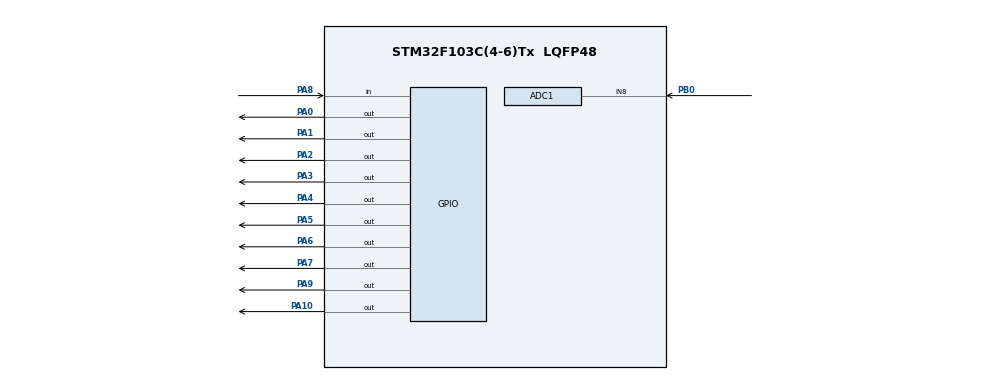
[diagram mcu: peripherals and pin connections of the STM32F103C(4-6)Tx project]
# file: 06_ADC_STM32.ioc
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ADC1.Channel-0\#ChannelRegularConversion=ADC_CHANNEL_8
ADC1.NbrOfConversionFlag=1
ADC1.Rank-0\#ChannelRegularConversion=1
ADC1.SamplingTime-0\#ChannelRegularConversion=ADC_SAMPLETIME_1CYCLE_5
ADC1.master=1
Mcu.Family=STM32F1
Mcu.Name=STM32F103C(4-6)Tx
Mcu.Package=LQFP48
NVIC.PriorityGroup=NVIC_PRIORITYGROUP_4
PA0-WKUP.Signal=GPIO_Output
PA1.Signal=GPIO_Output
PA10.Signal=GPIO_Output
PA2.Signal=GPIO_Output
PA3.Signal=GPIO_Output
PA4.Signal=GPIO_Output
PA5.Signal=GPIO_Output
PA6.Signal=GPIO_Output
PA7.Signal=GPIO_Output
PA8.Signal=GPIO_Input
PA9.Signal=GPIO_Output
PB0.Signal=ADCx_IN8
ProjectManager.HeapSize=0x200
ProjectManager.StackSize=0x400
ProjectManager.TargetToolchain=STM32CubeIDE
RCC.APB1Freq_Value=8000000
RCC.APB2Freq_Value=8000000
SH.ADCx_IN8.0=ADC1_IN8,IN8
VP_SYS_VS_ND.Mode=No_Debug
board=custom

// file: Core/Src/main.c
/* USER CODE BEGIN Header */
/**
  ******************************************************************************
  * @file           : main.c
  * @brief          : Main program body
  ******************************************************************************
  * @attention
  *
  * Copyright (c) 2026 STMicroelectronics.
  * All rights reserved.
  *
  * This software is licensed under terms that can be found in the LICENSE file
  * in the root directory of this software component.
  * If no LICENSE file comes with this software, it is provided AS-IS.
  *
  ******************************************************************************
  */
/* USER CODE END Header */
#include "main.h"

ADC_HandleTypeDef hadc1;

void SystemClock_Config(void);
static void MX_GPIO_Init(void);
static void MX_ADC1_Init(void);

int main(void)
{

  /* USER CODE BEGIN 1 */
	int Adc_value;
	char c1,c2,c3,c4;

  /* USER CODE END 1 */

  /* MCU Configuration--------------------------------------------------------*/

  /* Reset of all peripherals, Initializes the Flash interface and the Systick. */
  HAL_Init();

  /* Configure the system clock */
  SystemClock_Config();

  /* Initialize all configured peripherals */
  MX_GPIO_Init();
  MX_ADC1_Init();
  /* USER CODE BEGIN 2 */
  LCD_Init();
  Curr_Loc(1, 1);
  String("ADC VALUE ");

  /* USER CODE END 2 */

  /* Infinite loop */
  /* USER CODE BEGIN WHILE */
  while (1)
  {

	  // START ADC

	  HAL_ADCEx_Calibration_Start(&hadc1);
	  HAL_ADC_PollForConversion(&hadc1, 1000);
	  Adc_value = HAL_ADC_GetValue(&hadc1) ; // ACCEPT DATA FROM SFR TO VARIABLE..

	  // COVERT TO CHAR...
	  	  c1 = (Adc_value) / 1000;
	  	  c2 = ((Adc_value / 100) % 10);
	  	  c3 = ((Adc_value / 10) % 10);
	  	  c4 = Adc_value % 10;

	      Curr_Loc(2, 1);
	      LCD_Data(c1 + 48);
	      LCD_Data(c2 + 48);
	      LCD_Data(c3 + 48);
	      LCD_Data(c4 + 48);
	  	  Clear_Screen();
	  	  HAL_Delay(300);

    /* USER CODE END WHILE */

  }
}

void SystemClock_Config(void)
{
  RCC_OscInitTypeDef RCC_OscInitStruct = {0};
  RCC_ClkInitTypeDef RCC_ClkInitStruct = {0};
  RCC_PeriphCLKInitTypeDef PeriphClkInit = {0};

  /** Initializes the RCC Oscillators according to the specified parameters
  * in the RCC_OscInitTypeDef structure.
  */
  RCC_OscInitStruct.OscillatorType = RCC_OSCILLATORTYPE_HSI;
  RCC_OscInitStruct.HSIState = RCC_HSI_ON;
  RCC_OscInitStruct.HSICalibrationValue = RCC_HSICALIBRATION_DEFAULT;
  RCC_OscInitStruct.PLL.PLLState = RCC_PLL_NONE;
  if (HAL_RCC_OscConfig(&RCC_OscInitStruct) != HAL_OK)
  {
    Error_Handler();
  }

  /** Initializes the CPU, AHB and APB buses clocks
  */
  RCC_ClkInitStruct.ClockType = RCC_CLOCKTYPE_HCLK|RCC_CLOCKTYPE_SYSCLK
                              |RCC_CLOCKTYPE_PCLK1|RCC_CLOCKTYPE_PCLK2;
  RCC_ClkInitStruct.SYSCLKSource = RCC_SYSCLKSOURCE_HSI;
  RCC_ClkInitStruct.AHBCLKDivider = RCC_SYSCLK_DIV1;
  RCC_ClkInitStruct.APB1CLKDivider = RCC_HCLK_DIV1;
  RCC_ClkInitStruct.APB2CLKDivider = RCC_HCLK_DIV1;

  if (HAL_RCC_ClockConfig(&RCC_ClkInitStruct, FLASH_LATENCY_0) != HAL_OK)
  {
    Error_Handler();
  }
  PeriphClkInit.PeriphClockSelection = RCC_PERIPHCLK_ADC;
  PeriphClkInit.AdcClockSelection = RCC_ADCPCLK2_DIV2;
  if (HAL_RCCEx_PeriphCLKConfig(&PeriphClkInit) != HAL_OK)
  {
    Error_Handler();
  }
}

static void MX_ADC1_Init(void)
{

  ADC_ChannelConfTypeDef sConfig = {0};

  /** Common config
  */
  hadc1.Instance = ADC1;
  hadc1.Init.ScanConvMode = ADC_SCAN_DISABLE;
  hadc1.Init.ContinuousConvMode = DISABLE;
  hadc1.Init.DiscontinuousConvMode = DISABLE;
  hadc1.Init.ExternalTrigConv = ADC_SOFTWARE_START;
  hadc1.Init.DataAlign = ADC_DATAALIGN_RIGHT;
  hadc1.Init.NbrOfConversion = 1;
  if (HAL_ADC_Init(&hadc1) != HAL_OK)
  {
    Error_Handler();
  }

  /** Configure Regular Channel
  */
  sConfig.Channel = ADC_CHANNEL_8;
  sConfig.Rank = ADC_REGULAR_RANK_1;
  sConfig.SamplingTime = ADC_SAMPLETIME_1CYCLE_5;
  if (HAL_ADC_ConfigChannel(&hadc1, &sConfig) != HAL_OK)
  {
    Error_Handler();
  }

}

static void MX_GPIO_Init(void)
{
  GPIO_InitTypeDef GPIO_InitStruct = {0};

  /* GPIO Ports Clock Enable */
  __HAL_RCC_GPIOA_CLK_ENABLE();
  __HAL_RCC_GPIOB_CLK_ENABLE();

  /*Configure GPIO pin Output Level */
  HAL_GPIO_WritePin(GPIOA, GPIO_PIN_0|GPIO_PIN_1|GPIO_PIN_2|GPIO_PIN_3
                          |GPIO_PIN_4|GPIO_PIN_5|GPIO_PIN_6|GPIO_PIN_7
                          |GPIO_PIN_9|GPIO_PIN_10, GPIO_PIN_RESET);

  /*Configure GPIO pins : PA0 PA1 PA2 PA3
                           PA4 PA5 PA6 PA7
                           PA9 PA10 */
  GPIO_InitStruct.Pin = GPIO_PIN_0|GPIO_PIN_1|GPIO_PIN_2|GPIO_PIN_3
                          |GPIO_PIN_4|GPIO_PIN_5|GPIO_PIN_6|GPIO_PIN_7
                          |GPIO_PIN_9|GPIO_PIN_10;
  GPIO_InitStruct.Mode = GPIO_MODE_OUTPUT_PP;
  GPIO_InitStruct.Pull = GPIO_NOPULL;
  GPIO_InitStruct.Speed = GPIO_SPEED_FREQ_LOW;
  HAL_GPIO_Init(GPIOA, &GPIO_InitStruct);

  /*Configure GPIO pin : PA8 */
  GPIO_InitStruct.Pin = GPIO_PIN_8;
  GPIO_InitStruct.Mode = GPIO_MODE_INPUT;
  GPIO_InitStruct.Pull = GPIO_NOPULL;
  HAL_GPIO_Init(GPIOA, &GPIO_InitStruct);

}

void Error_Handler(void)
{
  __disable_irq();
  while (1)
  {
  }
}
